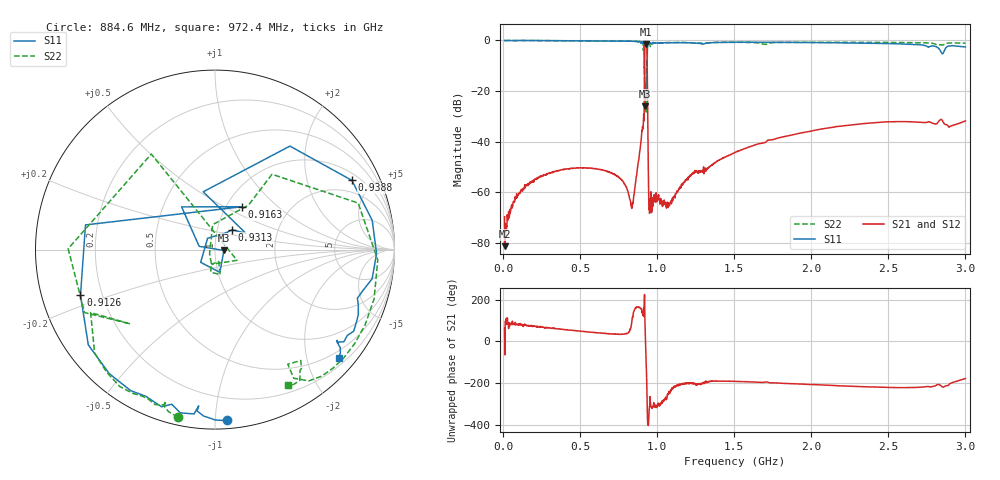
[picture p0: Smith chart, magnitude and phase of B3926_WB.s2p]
! Matrix data file written by TouchstoneData, EPCOS AG
! FILENAME: "B3926_WB.s2p"
! COMMENT: "NWA-Port1 : 98.0ps NWA-Port2 : 98.0ps PCB2031"
! INFO: nport=2, nfreq=1601
! DATE: "Wed Mar 13 2013"
! USER: "Hiroshi Tanaka"
! port | pin | signal
!  1  |  2  |  in
!  2  |  5  |  out
# MHZ S MA R 50
! freq  magS11 angS11  magS21 angS21  magS12 angS12  magS22 angS22
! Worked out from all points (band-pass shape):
!   1601 points, 10 MHz to 3 GHz, reference 50 ohm
!   highest |S21| = -1.34 dB at 925.7 MHz (marker M1); lowest = -81.4 dB at 11.87 MHz (marker M2)
!   |S21| within 3 dB of the highest: 919.6 MHz to 933.6 MHz (14 MHz wide, 1.51 % of centre)
!   lowest |S11| = -26.1 dB at 922 MHz (marker M3), VSWR 1.10, Z = 55.2 - j0.538 ohm
!   |S11| at or under -10 dB: 916.1 MHz to 934.9 MHz (18.78 MHz wide, 2.03 % of centre)
!   |S22| runs from -28.3 to 0.0 dB; largest |S21 - S12| = 0.0015
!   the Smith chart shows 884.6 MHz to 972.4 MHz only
!   S11 on the Smith chart (normalised r, x): 884.6 MHz: 0.05, -1.07; 912.6 MHz: 0.12, -0.16; 916.3 MHz: 1.18, +0.61; 931.3 MHz: 1.18, +0.27; 938.8 MHz: 1.31, +3.76; 972.4 MHz: 0.34, -2.62
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10  0.999 -1.5  0.0003253 62.8  0.0003559 67.7  0.9961 -1.7
11.86875  0.9951 -1.3  8.534e-05 -64.9  4.494e-05 -32.5  0.9942 -1.8
176.3187  0.9948 -13.0  0.001605 74.5  0.001611 74.8  0.9943 -17.8
508.9563  0.9824 -37.5  0.003032 48.9  0.003033 48.9  0.9831 -49.8
738.8125  0.9768 -56.1  0.002056 34.6  0.00205 34.9  0.9769 -71.9
834.1187  0.9683 -68.3  0.0004957 86.4  0.0004951 86.8  0.9684 -84.3
884.575  0.9534 -85.9  0.005669 163.8  0.005653 164.1  0.9529 -102.4
901.3937  0.8947 -105.6  0.01685 136.8  0.01684 137.0  0.9223 -119.6
912.6063  0.7913 -161.3  0.03546 161.0  0.03543 161.1  0.8069 -154.2
916.3438  0.2818 57.9  0.05343 -162.5  0.05342 -162.4  0.64 123.7
921.95  0.0498 -5.6  0.8331 56.2  0.833 56.3  0.06947 -72.6
925.6875  0.1069 -138.4  0.8569 -32.1  0.8568 -32.0  0.1279 -100.6
931.2938  0.1464 49.2  0.7795 -167.1  0.7794 -167.1  0.1395 95.4
938.7687  0.8547 26.8  0.02742 -36.4  0.02744 -36.2  0.9088 -3.6
955.5875  0.8966 -30.5  0.0007538 70.5  0.0007531 70.6  0.7566 -57.6
972.4062  0.917 -41.3  0.0005254 46.2  0.0005199 45.7  0.8576 -61.5
1007.913  0.8985 -52.9  0.0008396 55.8  0.0008437 56.3  0.8881 -71.2
1080.794  0.9029 -61.6  0.0005399 110.3  0.000541 109.9  0.9042 -80.1
1505  0.922 -84.0  0.006063 168.7  0.006073 169.2  0.9183 -104.0
2003.956  0.9069 -108.5  0.01622 153.8  0.01621 154.2  0.9226 -122.7
2502.912  0.8671 -136.3  0.02464 139.8  0.02458 139.9  0.9122 -142.6
3000  0.7428 -172.8  0.02565 -177.6  0.0256 -177.3  0.8814 -162.3
